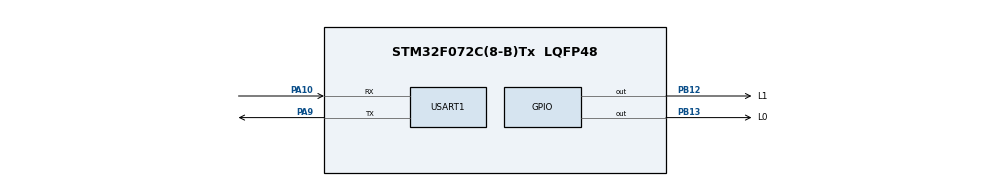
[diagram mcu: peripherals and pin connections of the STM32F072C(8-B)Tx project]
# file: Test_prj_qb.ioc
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Mcu.Family=STM32F0
Mcu.Name=STM32F072C(8-B)Tx
Mcu.Package=LQFP48
NVIC.USART1_IRQn=true\:0\:0\:false\:false\:true\:true\:true\:true
PA10.Mode=Asynchronous
PA10.Signal=USART1_RX
PA9.Mode=Asynchronous
PA9.Signal=USART1_TX
PB12.GPIO_Label=L1
PB12.Signal=GPIO_Output
PB13.GPIO_Label=L0
PB13.Signal=GPIO_Output
ProjectManager.HeapSize=0x200
ProjectManager.StackSize=0x400
ProjectManager.TargetToolchain=STM32CubeIDE
USART1.VirtualMode-Asynchronous=VM_ASYNC
board=custom

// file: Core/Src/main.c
/* USER CODE BEGIN Header */
/**
 ******************************************************************************
 * @file           : main.c
 * @brief          : Main program body
 ******************************************************************************
 * @attention
 *
 * Copyright (c) 2022 STMicroelectronics.
 * All rights reserved.
 *
 * This software is licensed under terms that can be found in the LICENSE file
 * in the root directory of this software component.
 * If no LICENSE file comes with this software, it is provided AS-IS.
 *
 ******************************************************************************
 */
/* USER CODE END Header */
#include "main.h"

/* USER CODE BEGIN Includes */
#include <stdio.h>
#include <string.h>
/* USER CODE END Includes */

UART_HandleTypeDef huart1;

void SystemClock_Config(void);
static void MX_GPIO_Init(void);
static void MX_USART1_UART_Init(void);

/* USER CODE BEGIN 0 */
#define SETTINGS_ADDRESS 0x0800FC00 //адрес для сохранения настроек
#define L0_interval_def 100
#define L1_interval_def 200
struct lines_settings {
	unsigned int L0_interval;
	unsigned int L1_interval;
};
struct lines_settings lss;
void WriteConfig() {
	HAL_FLASH_Unlock(); // Открыть доступ к FLASH (она закрыта от случайной записи)
	// В структуре settings хранятся настройки, преобразую ее в 16-битный массив для удобства доступа
	uint16_t *data = (uint16_t*) &lss;
	FLASH_EraseInitTypeDef ef; // Объявляю структуру, необходимую для функции стирания страницы
	HAL_StatusTypeDef stat;
	ef.TypeErase = FLASH_TYPEERASE_PAGES; // Стирать постранично
	ef.PageAddress = SETTINGS_ADDRESS; // Адрес страницы для стирания
	ef.NbPages = 1; //Число страниц = 1
	uint32_t temp; // Временная переменная для результата стирания (не использую)
	HAL_FLASHEx_Erase(&ef, &temp); // Вызов функции стирания
	// Будьте уверены, что размер структуры настроек кратен 2 байтам
	for (int i = 0; i < sizeof(lss); i += 2) { // Запись всех настроек
		stat = HAL_FLASH_Program(FLASH_TYPEPROGRAM_HALFWORD,
		SETTINGS_ADDRESS + i, *(data++));
		if (stat != HAL_OK)
			break; // Если что-то пошло не так - выскочить из цикла
	}
	HAL_FLASH_Lock(); // Закрыть флешку от случайной записи
}
uint32_t FlashRead(uint32_t address) {
	return (*(__IO uint32_t*) address);
}
// Пример чтения 4 байт настроек.
void ReadConfig() {
	// Структуру настроек превращаю в указатель на массив 8-ми битных значений
	uint8_t *setData = (uint8_t*) &lss;
	uint32_t tempData = FlashRead(SETTINGS_ADDRESS); // Прочесть слово из флешки
	if (tempData != 0xffffffff) { // Если флешка не пустая
		setData[0] = (uint8_t) ((tempData & 0xff000000) >> 24); // �?звлечь первый байт из слова
		setData[1] = (uint8_t) ((tempData & 0x00ff0000) >> 16); // �?звлечь второй байт из слова
		setData[2] = (uint8_t) ((tempData & 0x0000ff00) >> 8); // �?злечь третий байт из слова
		setData[3] = tempData & 0xff; // �?звлечь четвертый байт из слова
	}
}
//проверка, пора ли менять состояние линии
void CheckLineState(uint32_t now_time, uint32_t *check_time,
		uint16_t L_interval, uint16_t L_pin) {
	if (now_time - *check_time >= L_interval) { //если пора
		HAL_GPIO_TogglePin(GPIOB, L_pin); //сменили состояние
		*check_time = now_time; //запомнили время
	}
}
char* S_Parser(char *string) {
	static char *source = NULL;
	char *p, *next_data = 0;
	if (string != NULL) {
		source = string;
	}
	if (source == NULL) {
		return NULL;
	}
	if ((p = strpbrk(source, ",")) != NULL) {
		*p = 0;
		next_data = source;
		source = ++p;
	}
	return next_data;
}
//формат: SET,100,200,END\n
//где 100-интервал для первой линии, 200-второй
#define SIZE_BF_SET 17 //размер команды настройки
char SET_data[SIZE_BF_SET] = { 0 };
const char str_SET_data[4] = "SET";
void HAL_UART_RxCpltCallback(UART_HandleTypeDef *huart) {
	if (huart == &huart1) {
		char *pstr = strstr(SET_data, str_SET_data);  //Поиск строки
		char *istr = S_Parser(pstr);  //Парсим значения из SET
		uint8_t i_d_SET = 0;
		while (istr != NULL)  // Выделение последующих частей
		{
			switch (i_d_SET) {
			case 1:
				sscanf(istr, "%3d", &lss.L0_interval);
				break;
			case 2:
				sscanf(istr, "%3d", &lss.L1_interval);
				break;
			}
			istr = S_Parser(NULL);  // Выделение очередной части строки
			i_d_SET++;
		}
		WriteConfig(); //сохраняем
	}
}
/* USER CODE END 0 */

int main(void) {
	/* USER CODE BEGIN 1 */
	ReadConfig();
	if (!lss.L0_interval || !lss.L1_interval) { //если хотя бы один из интервалов == 0, заменяем преднастройкой
		lss.L0_interval = L0_interval_def;
		lss.L1_interval = L1_interval_def;
		WriteConfig(); //сохраняем
	}
	/* USER CODE END 1 */

	/* MCU Configuration--------------------------------------------------------*/

	/* Reset of all peripherals, Initializes the Flash interface and the Systick. */
	HAL_Init();

	/* Configure the system clock */
	SystemClock_Config();

	/* Initialize all configured peripherals */
	MX_GPIO_Init();
	MX_USART1_UART_Init();
	/* USER CODE BEGIN 2 */
	uint32_t i_tick = 0; //счетчик прохождения main while
	//счетчики для линий
	uint32_t i_L0 = 0;
	uint32_t i_L1 = 0;
	/* USER CODE END 2 */

	/* Infinite loop */
	/* USER CODE BEGIN WHILE */
	while (1) {
		i_tick++;
		CheckLineState(i_tick, &i_L0, lss.L0_interval, L0_Pin);
		CheckLineState(i_tick, &i_L1, lss.L1_interval, L1_Pin);
		/* USER CODE END WHILE */

	}
}

void SystemClock_Config(void) {
	RCC_OscInitTypeDef RCC_OscInitStruct = { 0 };
	RCC_ClkInitTypeDef RCC_ClkInitStruct = { 0 };
	RCC_PeriphCLKInitTypeDef PeriphClkInit = { 0 };

	/** Initializes the RCC Oscillators according to the specified parameters
	 * in the RCC_OscInitTypeDef structure.
	 */
	RCC_OscInitStruct.OscillatorType = RCC_OSCILLATORTYPE_HSI;
	RCC_OscInitStruct.HSIState = RCC_HSI_ON;
	RCC_OscInitStruct.HSICalibrationValue = RCC_HSICALIBRATION_DEFAULT;
	RCC_OscInitStruct.PLL.PLLState = RCC_PLL_NONE;
	if (HAL_RCC_OscConfig(&RCC_OscInitStruct) != HAL_OK) {
		Error_Handler();
	}

	/** Initializes the CPU, AHB and APB buses clocks
	 */
	RCC_ClkInitStruct.ClockType = RCC_CLOCKTYPE_HCLK | RCC_CLOCKTYPE_SYSCLK
			| RCC_CLOCKTYPE_PCLK1;
	RCC_ClkInitStruct.SYSCLKSource = RCC_SYSCLKSOURCE_HSI;
	RCC_ClkInitStruct.AHBCLKDivider = RCC_SYSCLK_DIV1;
	RCC_ClkInitStruct.APB1CLKDivider = RCC_HCLK_DIV1;

	if (HAL_RCC_ClockConfig(&RCC_ClkInitStruct, FLASH_LATENCY_0) != HAL_OK) {
		Error_Handler();
	}
	PeriphClkInit.PeriphClockSelection = RCC_PERIPHCLK_USART1;
	PeriphClkInit.Usart1ClockSelection = RCC_USART1CLKSOURCE_PCLK1;
	if (HAL_RCCEx_PeriphCLKConfig(&PeriphClkInit) != HAL_OK) {
		Error_Handler();
	}
}

static void MX_USART1_UART_Init(void) {

	huart1.Instance = USART1;
	huart1.Init.BaudRate = 38400;
	huart1.Init.WordLength = UART_WORDLENGTH_8B;
	huart1.Init.StopBits = UART_STOPBITS_1;
	huart1.Init.Parity = UART_PARITY_NONE;
	huart1.Init.Mode = UART_MODE_TX_RX;
	huart1.Init.HwFlowCtl = UART_HWCONTROL_NONE;
	huart1.Init.OverSampling = UART_OVERSAMPLING_16;
	huart1.Init.OneBitSampling = UART_ONE_BIT_SAMPLE_DISABLE;
	huart1.AdvancedInit.AdvFeatureInit = UART_ADVFEATURE_NO_INIT;
	if (HAL_UART_Init(&huart1) != HAL_OK) {
		Error_Handler();
	}

}

static void MX_GPIO_Init(void) {
	GPIO_InitTypeDef GPIO_InitStruct = { 0 };

	/* GPIO Ports Clock Enable */
	__HAL_RCC_GPIOB_CLK_ENABLE();
	__HAL_RCC_GPIOA_CLK_ENABLE();

	/*Configure GPIO pin Output Level */
	HAL_GPIO_WritePin(GPIOB, L1_Pin | L0_Pin, GPIO_PIN_RESET);

	/*Configure GPIO pins : L1_Pin L0_Pin */
	GPIO_InitStruct.Pin = L1_Pin | L0_Pin;
	GPIO_InitStruct.Mode = GPIO_MODE_OUTPUT_PP;
	GPIO_InitStruct.Pull = GPIO_NOPULL;
	GPIO_InitStruct.Speed = GPIO_SPEED_FREQ_LOW;
	HAL_GPIO_Init(GPIOB, &GPIO_InitStruct);

}

void Error_Handler(void) {
	__disable_irq();
	while (1) {
	}
}
